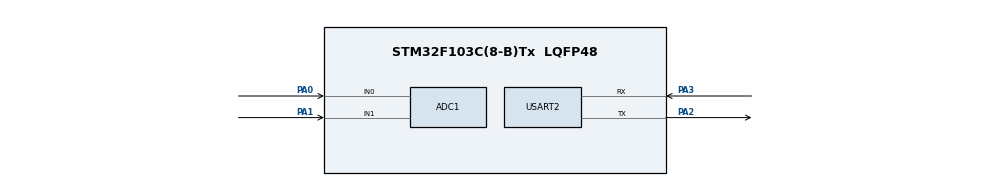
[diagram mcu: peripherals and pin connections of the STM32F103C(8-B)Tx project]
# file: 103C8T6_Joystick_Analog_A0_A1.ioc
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ADC1.Channel-0\#ChannelRegularConversion=ADC_CHANNEL_0
ADC1.NbrOfConversion=1
ADC1.NbrOfConversionFlag=1
ADC1.Rank-0\#ChannelRegularConversion=1
ADC1.SamplingTime-0\#ChannelRegularConversion=ADC_SAMPLETIME_55CYCLES_5
ADC1.master=1
Mcu.Family=STM32F1
Mcu.Name=STM32F103C(8-B)Tx
Mcu.Package=LQFP48
NVIC.PriorityGroup=NVIC_PRIORITYGROUP_4
PA0-WKUP.Signal=ADCx_IN0
PA1.Signal=ADCx_IN1
PA13.Mode=Serial_Wire
PA13.Signal=SYS_JTMS-SWDIO
PA14.Mode=Serial_Wire
PA14.Signal=SYS_JTCK-SWCLK
PA2.Mode=Asynchronous
PA2.Signal=USART2_TX
PA3.Mode=Asynchronous
PA3.Signal=USART2_RX
PC14-OSC32_IN.Mode=LSE-External-Oscillator
PC14-OSC32_IN.Signal=RCC_OSC32_IN
PC15-OSC32_OUT.Mode=LSE-External-Oscillator
PC15-OSC32_OUT.Signal=RCC_OSC32_OUT
PD0-OSC_IN.Mode=HSE-External-Oscillator
PD0-OSC_IN.Signal=RCC_OSC_IN
PD1-OSC_OUT.Mode=HSE-External-Oscillator
PD1-OSC_OUT.Signal=RCC_OSC_OUT
ProjectManager.HeapSize=0x200
ProjectManager.StackSize=0x400
ProjectManager.TargetToolchain=STM32CubeIDE
RCC.APB1Freq_Value=8000000
RCC.APB2Freq_Value=8000000
SH.ADCx_IN0.0=ADC1_IN0,IN0
SH.ADCx_IN1.0=ADC1_IN1,IN1
USART2.VirtualMode=VM_ASYNC
board=custom

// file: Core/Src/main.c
/* USER CODE BEGIN Header */
/**
 ******************************************************************************
 * @file           : main.c
 * @brief          : Main program body
 ******************************************************************************
 * @attention
 *
 * Copyright (c) 2025 STMicroelectronics.
 * All rights reserved.
 *
 * This software is licensed under terms that can be found in the LICENSE file
 * in the root directory of this software component.
 * If no LICENSE file comes with this software, it is provided AS-IS.
 *
 ******************************************************************************
 */
/* USER CODE END Header */
#include "main.h"

/* USER CODE BEGIN Includes */
#include <stdio.h>
#include <string.h>

/* USER CODE END Includes */

ADC_HandleTypeDef hadc1;

UART_HandleTypeDef huart2;

/* USER CODE BEGIN PV */
char buffer[50];
/* USER CODE END PV */

void SystemClock_Config(void);
static void MX_GPIO_Init(void);
static void MX_ADC1_Init(void);
static void MX_USART2_UART_Init(void);

/* USER CODE BEGIN 0 */
uint16_t ReadADC(uint32_t channel) {
	ADC_ChannelConfTypeDef sConfig = { 0 };

	sConfig.Channel = channel;
	sConfig.Rank = ADC_REGULAR_RANK_1;
	sConfig.SamplingTime = ADC_SAMPLETIME_55CYCLES_5;
	HAL_ADC_ConfigChannel(&hadc1, &sConfig);

	HAL_ADC_Start(&hadc1);
	HAL_ADC_PollForConversion(&hadc1, HAL_MAX_DELAY);
	uint16_t value = HAL_ADC_GetValue(&hadc1);
	HAL_ADC_Stop(&hadc1);

	return value;
}
/* USER CODE END 0 */

int main(void)
{

  /* MCU Configuration--------------------------------------------------------*/

  /* Reset of all peripherals, Initializes the Flash interface and the Systick. */
  HAL_Init();

  /* Configure the system clock */
  SystemClock_Config();

  /* Initialize all configured peripherals */
  MX_GPIO_Init();
  MX_ADC1_Init();
  MX_USART2_UART_Init();

  /* Infinite loop */
	while (1) {

    /* USER CODE BEGIN 3 */

		uint16_t joyY = ReadADC(ADC_CHANNEL_0);   // PA0 vertical
		uint16_t joyX = ReadADC(ADC_CHANNEL_1);   // PA1 horizontal

		sprintf(buffer, "Joystick Y=%u   X=%u\r\n", joyY, joyX);
		HAL_UART_Transmit(&huart2, (uint8_t*) buffer, strlen(buffer), 100);

		HAL_Delay(200);

	}
  /* USER CODE END 3 */
}

void SystemClock_Config(void)
{
  RCC_OscInitTypeDef RCC_OscInitStruct = {0};
  RCC_ClkInitTypeDef RCC_ClkInitStruct = {0};
  RCC_PeriphCLKInitTypeDef PeriphClkInit = {0};

  /** Initializes the RCC Oscillators according to the specified parameters
  * in the RCC_OscInitTypeDef structure.
  */
  RCC_OscInitStruct.OscillatorType = RCC_OSCILLATORTYPE_HSI;
  RCC_OscInitStruct.HSIState = RCC_HSI_ON;
  RCC_OscInitStruct.HSICalibrationValue = RCC_HSICALIBRATION_DEFAULT;
  RCC_OscInitStruct.PLL.PLLState = RCC_PLL_NONE;
  if (HAL_RCC_OscConfig(&RCC_OscInitStruct) != HAL_OK)
  {
    Error_Handler();
  }

  /** Initializes the CPU, AHB and APB buses clocks
  */
  RCC_ClkInitStruct.ClockType = RCC_CLOCKTYPE_HCLK|RCC_CLOCKTYPE_SYSCLK
                              |RCC_CLOCKTYPE_PCLK1|RCC_CLOCKTYPE_PCLK2;
  RCC_ClkInitStruct.SYSCLKSource = RCC_SYSCLKSOURCE_HSI;
  RCC_ClkInitStruct.AHBCLKDivider = RCC_SYSCLK_DIV1;
  RCC_ClkInitStruct.APB1CLKDivider = RCC_HCLK_DIV1;
  RCC_ClkInitStruct.APB2CLKDivider = RCC_HCLK_DIV1;

  if (HAL_RCC_ClockConfig(&RCC_ClkInitStruct, FLASH_LATENCY_0) != HAL_OK)
  {
    Error_Handler();
  }
  PeriphClkInit.PeriphClockSelection = RCC_PERIPHCLK_ADC;
  PeriphClkInit.AdcClockSelection = RCC_ADCPCLK2_DIV2;
  if (HAL_RCCEx_PeriphCLKConfig(&PeriphClkInit) != HAL_OK)
  {
    Error_Handler();
  }
}

static void MX_ADC1_Init(void)
{

  ADC_ChannelConfTypeDef sConfig = {0};

  /** Common config
  */
  hadc1.Instance = ADC1;
  hadc1.Init.ScanConvMode = ADC_SCAN_DISABLE;
  hadc1.Init.ContinuousConvMode = DISABLE;
  hadc1.Init.DiscontinuousConvMode = DISABLE;
  hadc1.Init.ExternalTrigConv = ADC_SOFTWARE_START;
  hadc1.Init.DataAlign = ADC_DATAALIGN_RIGHT;
  hadc1.Init.NbrOfConversion = 1;
  if (HAL_ADC_Init(&hadc1) != HAL_OK)
  {
    Error_Handler();
  }

  /** Configure Regular Channel
  */
  sConfig.Channel = ADC_CHANNEL_0;
  sConfig.Rank = ADC_REGULAR_RANK_1;
  sConfig.SamplingTime = ADC_SAMPLETIME_55CYCLES_5;
  if (HAL_ADC_ConfigChannel(&hadc1, &sConfig) != HAL_OK)
  {
    Error_Handler();
  }

}

static void MX_USART2_UART_Init(void)
{

  huart2.Instance = USART2;
  huart2.Init.BaudRate = 115200;
  huart2.Init.WordLength = UART_WORDLENGTH_8B;
  huart2.Init.StopBits = UART_STOPBITS_1;
  huart2.Init.Parity = UART_PARITY_NONE;
  huart2.Init.Mode = UART_MODE_TX_RX;
  huart2.Init.HwFlowCtl = UART_HWCONTROL_NONE;
  huart2.Init.OverSampling = UART_OVERSAMPLING_16;
  if (HAL_UART_Init(&huart2) != HAL_OK)
  {
    Error_Handler();
  }

}

static void MX_GPIO_Init(void)
{

  /* GPIO Ports Clock Enable */
  __HAL_RCC_GPIOC_CLK_ENABLE();
  __HAL_RCC_GPIOD_CLK_ENABLE();
  __HAL_RCC_GPIOA_CLK_ENABLE();

}

void Error_Handler(void)
{
	__disable_irq();
	while (1) {
	}
}
